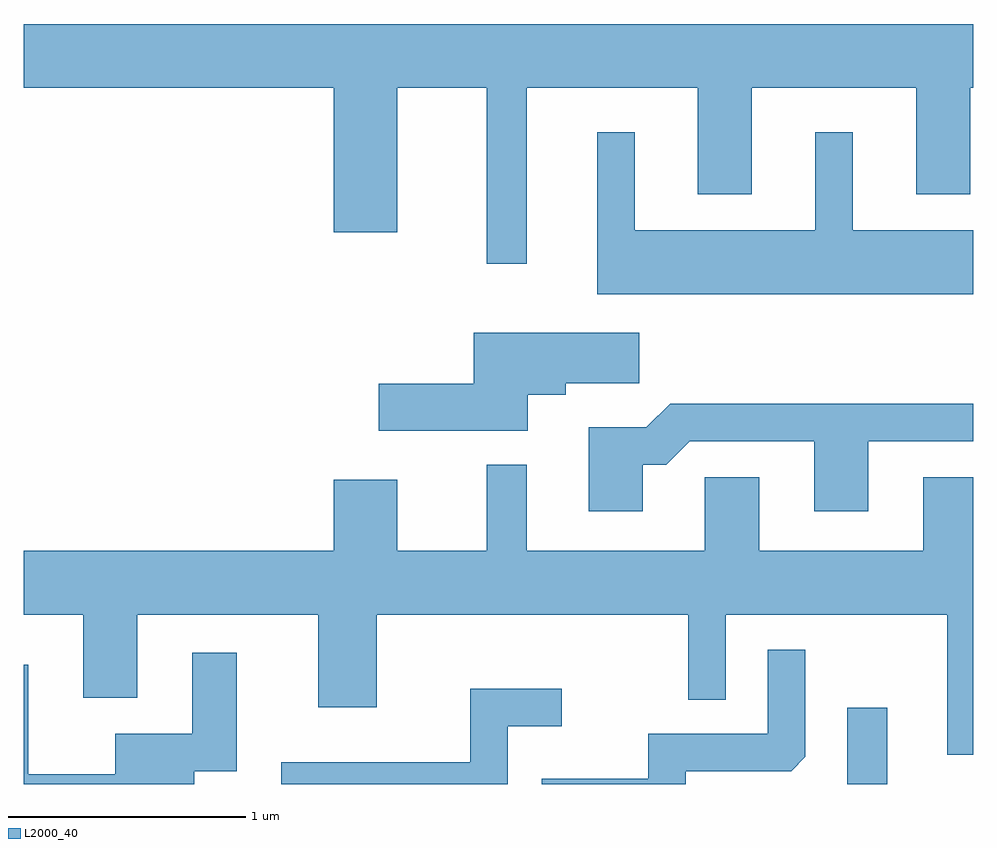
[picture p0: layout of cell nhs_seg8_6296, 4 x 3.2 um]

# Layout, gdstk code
import gdstk
lib = gdstk.Library(unit=1e-6, precision=1e-09)
def R(c, l, rs):  # rectangles x0, y0, x1, y1
    for r in rs: c.add(gdstk.rectangle(r[:2], r[2:], *l))
def P(c, l, *ps):  # polygons
    for p in ps: c.add(gdstk.Polygon(p, *l))
L2000_40 = (2000, 40)

nhs_seg8_6296 = lib.new_cell('nhs_seg8_6296')
R(nhs_seg8_6296, L2000_40, [(377.081,1862.342,377.249,1862.663)])
P(nhs_seg8_6296, L2000_40, [(375.729,1865.276),(376.451,1865.276),(376.451,1864.826),(376.679,1864.826),(376.679,1865.276),(377.371,1865.276),(377.371,1864.826),(377.599,1864.826),(377.599,1865.276),(377.611,1865.276),(377.611,1865.544),(373.611,1865.544),(373.611,1865.276),(374.916,1865.276),(374.916,1864.666),(375.184,1864.666),(375.184,1865.276),(375.561,1865.276),(375.561,1864.533),(375.729,1864.533)],
  [(377.611,1864.674),(377.104,1864.674),(377.104,1865.088),(376.946,1865.088),(376.946,1864.674),(376.184,1864.674),(376.184,1865.088),(376.026,1865.088),(376.026,1864.406),(377.611,1864.406)],
  [(375.734,1863.981),(375.894,1863.981),(375.894,1864.031),(376.204,1864.031),(376.204,1864.244),(375.506,1864.244),(375.506,1864.029),(375.106,1864.029),(375.106,1863.831),(375.734,1863.831)],
  [(376.219,1863.686),(376.317,1863.686),(376.417,1863.786),(376.941,1863.786),(376.941,1863.491),(377.169,1863.491),(377.169,1863.786),(377.611,1863.786),(377.611,1863.944),(376.334,1863.944),(376.234,1863.844),(375.991,1863.844),(375.991,1863.491),(376.219,1863.491)],
  [(377.611,1863.634),(377.401,1863.634),(377.401,1863.324),(376.709,1863.324),(376.709,1863.634),(376.481,1863.634),(376.481,1863.324),(375.729,1863.324),(375.729,1863.688),(375.561,1863.688),(375.561,1863.324),(375.184,1863.324),(375.184,1863.624),(374.916,1863.624),(374.916,1863.324),(373.611,1863.324),(373.611,1863.056),(373.861,1863.056),(373.861,1862.706),(374.089,1862.706),(374.089,1863.056),(374.851,1863.056),(374.851,1862.666),(375.099,1862.666),(375.099,1863.056),(376.411,1863.056),(376.411,1862.698),(376.569,1862.698),(376.569,1863.056),(377.501,1863.056),(377.501,1862.466),(377.611,1862.466)],
  [(376.399,1862.396),(376.844,1862.396),(376.904,1862.457),(376.904,1862.908),(376.746,1862.908),(376.746,1862.554),(376.241,1862.554),(376.241,1862.364),(375.793,1862.364),(375.793,1862.342),(376.399,1862.342)],
  [(374.329,1862.396),(374.509,1862.396),(374.509,1862.894),(374.321,1862.894),(374.321,1862.554),(373.996,1862.554),(373.996,1862.384),(373.629,1862.384),(373.629,1862.844),(373.611,1862.844),(373.611,1862.342),(374.329,1862.342)],
  [(375.649,1862.586),(375.878,1862.586),(375.878,1862.744),(375.491,1862.744),(375.491,1862.434),(374.696,1862.434),(374.696,1862.342),(375.649,1862.342)])

lib.write_gds('nhs_seg8_6296.gds')
